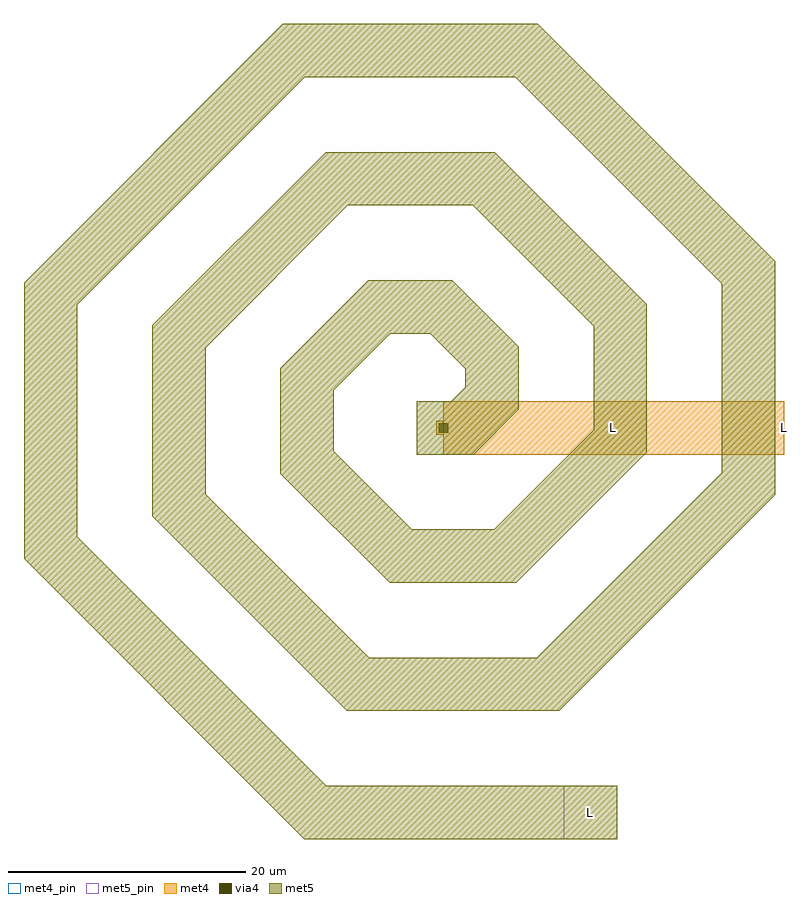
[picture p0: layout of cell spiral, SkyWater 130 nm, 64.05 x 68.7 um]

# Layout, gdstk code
import gdstk
lib = gdstk.Library(unit=1e-6, precision=1e-09)
def R(c, l, rs):  # rectangles x0, y0, x1, y1
    for r in rs: c.add(gdstk.rectangle(r[:2], r[2:], *l))
def P(c, l, *ps):  # polygons
    for p in ps: c.add(gdstk.Polygon(p, *l))
met4_pin = (71, 16)
met4 = (71, 20)
via4 = (71, 44)
met5_pin = (72, 16)
met5 = (72, 20)

spiral = lib.new_cell('spiral')
R(spiral, met4_pin, [(3.7,-1.95,32.4,2.55)])
R(spiral, met4, [(3.7,-1.95,32.4,2.55), (3.11,-0.29,4.29,0.89)])
R(spiral, via4, [(3.3,-0.1,4.1,0.7)])
R(spiral, met5_pin, [(13.85,-34.35,18.35,-29.85)])
R(spiral, met5, [(13.85,-34.35,18.35,-29.85), (2.9,-0.95,4.5,1.55)])
P(spiral, met5, [(-8.04,-34.35),(-31.65,-10.74),(-31.65,12.54),(-9.84,34.35),(11.64,34.35),(31.65,14.34),(31.65,-5.34),(13.44,-23.55),(-4.44,-23.55),(-20.85,-7.14),(-20.85,8.94),(-6.24,23.55),(8.04,23.55),(20.85,10.74),(20.85,-1.74),(9.84,-12.75),(-0.84,-12.75),(-10.05,-3.54),(-10.05,5.34),(-2.64,12.75),(4.44,12.75),(10.05,7.14),(10.05,1.86),(6.24,-1.95),(1.45,-1.95),(1.45,2.55),(4.37,2.55),(5.55,3.73),(5.55,5.27),(2.57,8.25),(-0.77,8.25),(-5.55,3.47),(-5.55,-1.67),(1.03,-8.25),(7.97,-8.25),(16.35,0.13),(16.35,8.87),(6.17,19.05),(-4.37,19.05),(-16.35,7.07),(-16.35,-5.27),(-2.57,-19.05),(11.57,-19.05),(27.15,-3.47),(27.15,12.47),(9.77,29.85),(-7.97,29.85),(-27.15,10.67),(-27.15,-8.87),(-6.17,-29.85),(18.35,-29.85),(18.35,-34.35)])
spiral.add(gdstk.Label('L', (18.05,0.3), layer=71, texttype=16))
spiral.add(gdstk.Label('L', (18.05,0.3), layer=71, texttype=5))
spiral.add(gdstk.Label('L', (16.1,-32.1), layer=72, texttype=16))
spiral.add(gdstk.Label('L', (16.1,-32.1), layer=72, texttype=5))
spiral.add(gdstk.Label('L', (32.4,0.3), layer=72, texttype=5))

lib.write_gds('spiral.gds')
